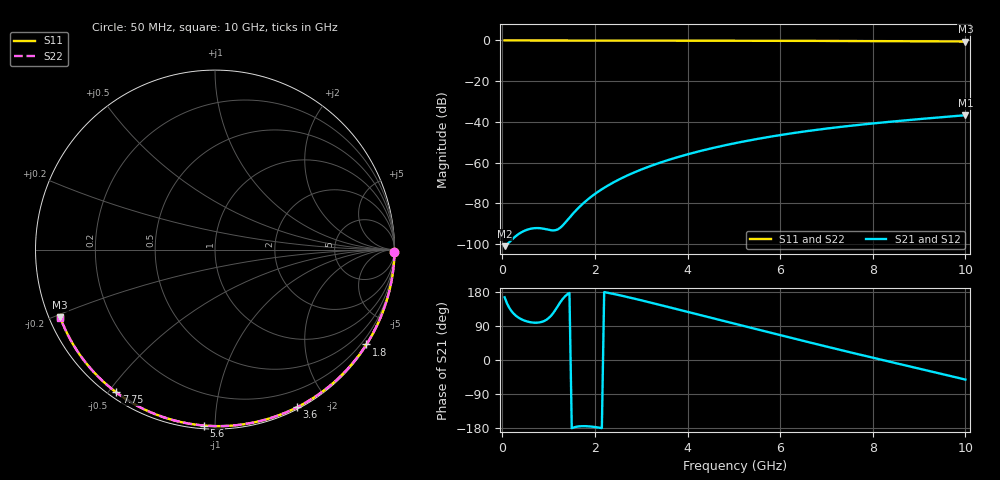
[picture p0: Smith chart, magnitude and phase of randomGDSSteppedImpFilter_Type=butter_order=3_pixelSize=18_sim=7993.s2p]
! freq	dB(S11)	phase(S11)	dB(S12)	phase(S12)
!  dB(S21)	phase(S21)	dB(S22)	phase(S22)
!S-par simulation data
#  GHz  S  DB  R 50
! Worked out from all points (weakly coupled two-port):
!   200 points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, 50 MHz to 10 GHz, reference 50 ohm
!   highest |S21| = -36.71 dB at 10 GHz (marker M1); lowest = -101.0 dB at 50 MHz (marker M2)
!   lowest |S11| = -0.5 dB at 10 GHz (marker M3), VSWR 33.14, Z = 1.57 - j10.4 ohm
!   |S11| at or under -10 dB: nowhere
!   |S22| runs from -0.5 to 0.0 dB; largest |S21 - S12| = 0
!   S11 on the Smith chart (normalised r, x): 50 MHz: open; 1.8 GHz: 0.03, -3.48; 3.6 GHz: 0.02, -1.65; 5.6 GHz: 0.02, -0.94; 7.75 GHz: 0.02, -0.52; 10 GHz: 0.03, -0.21
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0.05  -0.00 -0.9  -101.01 165.5  -101.01 165.5  -0.00 -0.9
0.45  -0.01 -8.1  -93.75 105.4  -93.75 105.4  -0.01 -8.1
0.85  -0.02 -15.3  -92.27 100.5  -92.27 100.5  -0.02 -15.3
1.3  -0.03 -23.3  -90.93 160.4  -90.93 160.4  -0.03 -23.3
1.75  -0.04 -31.2  -79.94 -174.5  -79.94 -174.5  -0.04 -31.2
1.8  -0.04 -32.1  -78.94 -174.6  -78.94 -174.6  -0.04 -32.1
1.95  -0.04 -34.7  -76.21 -176.0  -76.21 -176.0  -0.04 -34.7
2.1  -0.05 -37.3  -73.80 -178.6  -73.80 -178.6  -0.05 -37.3
2.3  -0.05 -40.7  -70.98 176.9  -70.98 176.9  -0.05 -40.7
2.5  -0.06 -44.1  -68.51 171.8  -68.51 171.8  -0.06 -44.1
2.9  -0.07 -50.9  -64.31 160.5  -64.31 160.5  -0.07 -50.9
3.4  -0.08 -59.2  -60.06 145.5  -60.06 145.5  -0.08 -59.2
3.6  -0.08 -62.5  -58.58 139.4  -58.58 139.4  -0.08 -62.4
4.3  -0.11 -73.7  -54.15 117.9  -54.15 117.9  -0.10 -73.6
5.05  -0.13 -85.3  -50.33 94.8  -50.33 94.8  -0.13 -85.3
5.6  -0.16 -93.6  -47.98 77.9  -47.98 77.9  -0.16 -93.6
6.15  -0.18 -101.8  -45.94 61.1  -45.94 61.1  -0.18 -101.7
6.7  -0.21 -109.8  -44.15 44.5  -44.15 44.5  -0.21 -109.7
7.75  -0.29 -124.7  -41.33 13.3  -41.33 13.3  -0.29 -124.6
8.35  -0.34 -133.1  -39.97 -4.0  -39.97 -4.0  -0.34 -133.0
9.2  -0.43 -145.0  -38.23 -28.3  -38.23 -28.3  -0.43 -144.9
10  -0.52 -156.4  -36.71 -51.8  -36.71 -51.8  -0.52 -156.3
